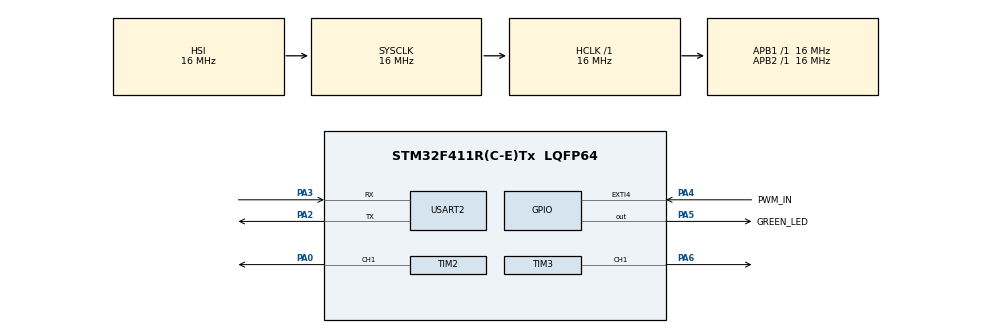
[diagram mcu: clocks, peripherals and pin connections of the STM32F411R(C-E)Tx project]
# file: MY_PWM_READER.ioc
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Mcu.Family=STM32F4
Mcu.Name=STM32F411R(C-E)Tx
Mcu.Package=LQFP64
NVIC.EXTI4_IRQn=true\:0\:0\:false\:false\:true\:true\:true\:true
NVIC.PriorityGroup=NVIC_PRIORITYGROUP_4
PA0-WKUP.Signal=S_TIM2_CH1_ETR
PA13.Mode=Serial_Wire
PA13.Signal=SYS_JTMS-SWDIO
PA14.Mode=Serial_Wire
PA14.Signal=SYS_JTCK-SWCLK
PA2.Mode=Asynchronous
PA2.Signal=USART2_TX
PA3.Mode=Asynchronous
PA3.Signal=USART2_RX
PA4.GPIO_Label=PWM_IN
PA4.Signal=GPXTI4
PA5.GPIO_Label=GREEN_LED
PA5.Signal=GPIO_Output
PA6.Signal=S_TIM3_CH1
ProjectManager.HeapSize=0x200
ProjectManager.StackSize=0x400
ProjectManager.TargetToolchain=STM32CubeIDE
RCC.AHBFreq_Value=16000000
RCC.APB1Freq_Value=16000000
RCC.APB1TimFreq_Value=16000000
RCC.APB2Freq_Value=16000000
RCC.APB2TimFreq_Value=16000000
RCC.CortexFreq_Value=16000000
RCC.HCLKFreq_Value=16000000
RCC.HSE_VALUE=25000000
RCC.HSI_VALUE=16000000
RCC.LSE_VALUE=32768
RCC.SYSCLKFreq_VALUE=16000000
RCC.VCOOutputFreq_Value=192000000
SH.S_TIM2_CH1_ETR.0=TIM2_CH1,PWM Generation1 CH1
SH.S_TIM3_CH1.0=TIM3_CH1,PWM Generation1 CH1
TIM2.Channel-PWM\ Generation1\ CH1=TIM_CHANNEL_1
TIM2.Period=625
TIM2.Prescaler=255
TIM2.Pulse-PWM\ Generation1\ CH1=312
TIM3.Channel-PWM\ Generation1\ CH1=TIM_CHANNEL_1
TIM3.Period=2
TIM3.Prescaler=127
TIM3.Pulse-PWM\ Generation1\ CH1=1
USART2.VirtualMode=VM_ASYNC
VP_TIM2_VS_ClockSourceINT.Mode=Internal
VP_TIM3_VS_ClockSourceINT.Mode=Internal
board=custom

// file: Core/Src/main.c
/* USER CODE BEGIN Header */
/**
  ******************************************************************************
  * @file           : main.c
  * @brief          : Main program body
  ******************************************************************************
  * @attention
  *
  * Copyright (c) 2025 STMicroelectronics.
  * All rights reserved.
  *
  * This software is licensed under terms that can be found in the LICENSE file
  * in the root directory of this software component.
  * If no LICENSE file comes with this software, it is provided AS-IS.
  *
  ******************************************************************************
  */
/* USER CODE END Header */
#include "main.h"

/* USER CODE BEGIN Includes */
#include <stdio.h>
#include <string.h>
/* USER CODE END Includes */

/* USER CODE BEGIN PD */
void blink_green_led();
/* USER CODE END PD */

TIM_HandleTypeDef htim2;
TIM_HandleTypeDef htim3;

UART_HandleTypeDef huart2;

/* USER CODE BEGIN PV */
uint32_t counter_pwm = 0;
uint16_t time = 2000;

/* USER CODE END PV */

void SystemClock_Config(void);
static void MX_GPIO_Init(void);
static void MX_TIM2_Init(void);
static void MX_USART2_UART_Init(void);
static void MX_TIM3_Init(void);

int main(void)
{

  /* MCU Configuration--------------------------------------------------------*/

  /* Reset of all peripherals, Initializes the Flash interface and the Systick. */
  HAL_Init();

  /* Configure the system clock */
  SystemClock_Config();

  /* Initialize all configured peripherals */
  MX_GPIO_Init();
  MX_TIM2_Init();
  MX_USART2_UART_Init();
  MX_TIM3_Init();
  /* USER CODE BEGIN 2 */
  HAL_TIM_PWM_Start(&htim2, TIM_CHANNEL_1);
  HAL_TIM_PWM_Start(&htim3, TIM_CHANNEL_1);

  uint32_t pwm = 0;
  char buffer[20] = "PWM: %d \n";
  char testo[20];

  /* USER CODE END 2 */

  /* Infinite loop */
  /* USER CODE BEGIN WHILE */
  while (1)
  {
	  counter_pwm = 0;
	  HAL_Delay(time);
	  pwm = counter_pwm;

	  blink_green_led();

	  pwm = (int)(pwm * ((float) 1000 / time));

	  sprintf(testo , buffer , pwm);
	  size_t size = strlen(testo);
	  if (HAL_UART_Transmit(&huart2 , testo , size+1 , 500) != HAL_OK){
		  Error_Handler();
	  }

    /* USER CODE END WHILE */

  }
}

void SystemClock_Config(void)
{
  RCC_OscInitTypeDef RCC_OscInitStruct = {0};
  RCC_ClkInitTypeDef RCC_ClkInitStruct = {0};

  /** Configure the main internal regulator output voltage
  */
  __HAL_RCC_PWR_CLK_ENABLE();
  __HAL_PWR_VOLTAGESCALING_CONFIG(PWR_REGULATOR_VOLTAGE_SCALE1);

  /** Initializes the RCC Oscillators according to the specified parameters
  * in the RCC_OscInitTypeDef structure.
  */
  RCC_OscInitStruct.OscillatorType = RCC_OSCILLATORTYPE_HSI;
  RCC_OscInitStruct.HSIState = RCC_HSI_ON;
  RCC_OscInitStruct.HSICalibrationValue = RCC_HSICALIBRATION_DEFAULT;
  RCC_OscInitStruct.PLL.PLLState = RCC_PLL_NONE;
  if (HAL_RCC_OscConfig(&RCC_OscInitStruct) != HAL_OK)
  {
    Error_Handler();
  }

  /** Initializes the CPU, AHB and APB buses clocks
  */
  RCC_ClkInitStruct.ClockType = RCC_CLOCKTYPE_HCLK|RCC_CLOCKTYPE_SYSCLK
                              |RCC_CLOCKTYPE_PCLK1|RCC_CLOCKTYPE_PCLK2;
  RCC_ClkInitStruct.SYSCLKSource = RCC_SYSCLKSOURCE_HSI;
  RCC_ClkInitStruct.AHBCLKDivider = RCC_SYSCLK_DIV1;
  RCC_ClkInitStruct.APB1CLKDivider = RCC_HCLK_DIV1;
  RCC_ClkInitStruct.APB2CLKDivider = RCC_HCLK_DIV1;

  if (HAL_RCC_ClockConfig(&RCC_ClkInitStruct, FLASH_LATENCY_0) != HAL_OK)
  {
    Error_Handler();
  }
}

static void MX_TIM2_Init(void)
{

  TIM_ClockConfigTypeDef sClockSourceConfig = {0};
  TIM_MasterConfigTypeDef sMasterConfig = {0};
  TIM_OC_InitTypeDef sConfigOC = {0};

  htim2.Instance = TIM2;
  htim2.Init.Prescaler = 255;
  htim2.Init.CounterMode = TIM_COUNTERMODE_UP;
  htim2.Init.Period = 625;
  htim2.Init.ClockDivision = TIM_CLOCKDIVISION_DIV1;
  htim2.Init.AutoReloadPreload = TIM_AUTORELOAD_PRELOAD_DISABLE;
  if (HAL_TIM_Base_Init(&htim2) != HAL_OK)
  {
    Error_Handler();
  }
  sClockSourceConfig.ClockSource = TIM_CLOCKSOURCE_INTERNAL;
  if (HAL_TIM_ConfigClockSource(&htim2, &sClockSourceConfig) != HAL_OK)
  {
    Error_Handler();
  }
  if (HAL_TIM_PWM_Init(&htim2) != HAL_OK)
  {
    Error_Handler();
  }
  sMasterConfig.MasterOutputTrigger = TIM_TRGO_RESET;
  sMasterConfig.MasterSlaveMode = TIM_MASTERSLAVEMODE_DISABLE;
  if (HAL_TIMEx_MasterConfigSynchronization(&htim2, &sMasterConfig) != HAL_OK)
  {
    Error_Handler();
  }
  sConfigOC.OCMode = TIM_OCMODE_PWM1;
  sConfigOC.Pulse = 312;
  sConfigOC.OCPolarity = TIM_OCPOLARITY_HIGH;
  sConfigOC.OCFastMode = TIM_OCFAST_DISABLE;
  if (HAL_TIM_PWM_ConfigChannel(&htim2, &sConfigOC, TIM_CHANNEL_1) != HAL_OK)
  {
    Error_Handler();
  }
  HAL_TIM_MspPostInit(&htim2);

}

static void MX_TIM3_Init(void)
{

  TIM_ClockConfigTypeDef sClockSourceConfig = {0};
  TIM_MasterConfigTypeDef sMasterConfig = {0};
  TIM_OC_InitTypeDef sConfigOC = {0};

  htim3.Instance = TIM3;
  htim3.Init.Prescaler = 127;
  htim3.Init.CounterMode = TIM_COUNTERMODE_UP;
  htim3.Init.Period = 2;
  htim3.Init.ClockDivision = TIM_CLOCKDIVISION_DIV1;
  htim3.Init.AutoReloadPreload = TIM_AUTORELOAD_PRELOAD_DISABLE;
  if (HAL_TIM_Base_Init(&htim3) != HAL_OK)
  {
    Error_Handler();
  }
  sClockSourceConfig.ClockSource = TIM_CLOCKSOURCE_INTERNAL;
  if (HAL_TIM_ConfigClockSource(&htim3, &sClockSourceConfig) != HAL_OK)
  {
    Error_Handler();
  }
  if (HAL_TIM_PWM_Init(&htim3) != HAL_OK)
  {
    Error_Handler();
  }
  sMasterConfig.MasterOutputTrigger = TIM_TRGO_RESET;
  sMasterConfig.MasterSlaveMode = TIM_MASTERSLAVEMODE_DISABLE;
  if (HAL_TIMEx_MasterConfigSynchronization(&htim3, &sMasterConfig) != HAL_OK)
  {
    Error_Handler();
  }
  sConfigOC.OCMode = TIM_OCMODE_PWM1;
  sConfigOC.Pulse = 1;
  sConfigOC.OCPolarity = TIM_OCPOLARITY_HIGH;
  sConfigOC.OCFastMode = TIM_OCFAST_DISABLE;
  if (HAL_TIM_PWM_ConfigChannel(&htim3, &sConfigOC, TIM_CHANNEL_1) != HAL_OK)
  {
    Error_Handler();
  }
  HAL_TIM_MspPostInit(&htim3);

}

static void MX_USART2_UART_Init(void)
{

  huart2.Instance = USART2;
  huart2.Init.BaudRate = 115200;
  huart2.Init.WordLength = UART_WORDLENGTH_8B;
  huart2.Init.StopBits = UART_STOPBITS_1;
  huart2.Init.Parity = UART_PARITY_NONE;
  huart2.Init.Mode = UART_MODE_TX_RX;
  huart2.Init.HwFlowCtl = UART_HWCONTROL_NONE;
  huart2.Init.OverSampling = UART_OVERSAMPLING_16;
  if (HAL_UART_Init(&huart2) != HAL_OK)
  {
    Error_Handler();
  }

}

static void MX_GPIO_Init(void)
{
  GPIO_InitTypeDef GPIO_InitStruct = {0};

  /* GPIO Ports Clock Enable */
  __HAL_RCC_GPIOA_CLK_ENABLE();

  /*Configure GPIO pin Output Level */
  HAL_GPIO_WritePin(GREEN_LED_GPIO_Port, GREEN_LED_Pin, GPIO_PIN_RESET);

  /*Configure GPIO pin : PWM_IN_Pin */
  GPIO_InitStruct.Pin = PWM_IN_Pin;
  GPIO_InitStruct.Mode = GPIO_MODE_IT_RISING;
  GPIO_InitStruct.Pull = GPIO_NOPULL;
  HAL_GPIO_Init(PWM_IN_GPIO_Port, &GPIO_InitStruct);

  /*Configure GPIO pin : GREEN_LED_Pin */
  GPIO_InitStruct.Pin = GREEN_LED_Pin;
  GPIO_InitStruct.Mode = GPIO_MODE_OUTPUT_PP;
  GPIO_InitStruct.Pull = GPIO_NOPULL;
  GPIO_InitStruct.Speed = GPIO_SPEED_FREQ_LOW;
  HAL_GPIO_Init(GREEN_LED_GPIO_Port, &GPIO_InitStruct);

  /* EXTI interrupt init*/
  HAL_NVIC_SetPriority(EXTI4_IRQn, 0, 0);
  HAL_NVIC_EnableIRQ(EXTI4_IRQn);

}

/* USER CODE BEGIN 4 */
void HAL_GPIO_EXTI_Callback(uint16_t GPIO_Pin){
	counter_pwm++;
}

void blink_green_led(){
	for (uint8_t i = 0; i < 4 ; i++){
		HAL_GPIO_TogglePin(GREEN_LED_GPIO_Port, GREEN_LED_Pin);
		HAL_Delay(50);
	}
}

/* USER CODE END 4 */

void Error_Handler(void)
{
  /* USER CODE BEGIN Error_Handler_Debug */

	HAL_GPIO_TogglePin(GREEN_LED_GPIO_Port, GREEN_LED_Pin);
	HAL_Delay(50);
	HAL_GPIO_TogglePin(GREEN_LED_GPIO_Port, GREEN_LED_Pin);
	HAL_Delay(50);
	HAL_GPIO_TogglePin(GREEN_LED_GPIO_Port, GREEN_LED_Pin);
	HAL_Delay(50);
	HAL_GPIO_TogglePin(GREEN_LED_GPIO_Port, GREEN_LED_Pin);
	HAL_Delay(50);
  /* User can add his own implementation to report the HAL error return state */
  __disable_irq();
  while (1)
  {
  }
  /* USER CODE END Error_Handler_Debug */
}
